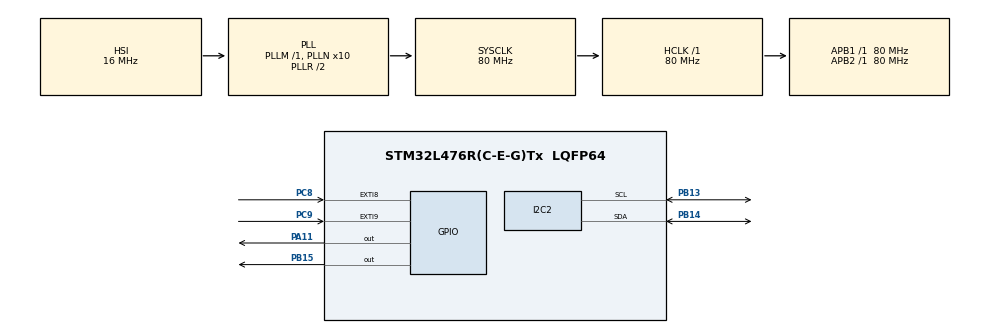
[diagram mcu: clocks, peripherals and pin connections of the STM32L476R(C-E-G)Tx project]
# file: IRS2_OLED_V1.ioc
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I2C2.CustomTiming=Disabled
I2C2.Timing=0x00303D5B
Mcu.Family=STM32L4
Mcu.Name=STM32L476R(C-E-G)Tx
Mcu.Package=LQFP64
NVIC.EXTI9_5_IRQn=true\:0\:0\:false\:false\:true\:true\:true\:true
NVIC.PriorityGroup=NVIC_PRIORITYGROUP_4
PA11.Signal=GPIO_Output
PB13.GPIO_Mode=GPIO_MODE_AF_OD
PB13.GPIO_Pu=GPIO_PULLUP
PB13.Mode=I2C
PB13.Signal=I2C2_SCL
PB14.GPIO_Mode=GPIO_MODE_AF_OD
PB14.GPIO_Pu=GPIO_PULLUP
PB14.Mode=I2C
PB14.Signal=I2C2_SDA
PB15.Signal=GPIO_Output
PC8.GPIO_ModeDefaultEXTI=GPIO_MODE_IT_FALLING
PC8.GPIO_PuPd=GPIO_PULLUP
PC8.Signal=GPXTI8
PC9.GPIO_ModeDefaultEXTI=GPIO_MODE_IT_FALLING
PC9.GPIO_PuPd=GPIO_PULLUP
PC9.Signal=GPXTI9
ProjectManager.HeapSize=0x200
ProjectManager.StackSize=0x400
ProjectManager.TargetToolchain=STM32CubeIDE
RCC.ADCFreq_Value=64000000
RCC.AHBFreq_Value=80000000
RCC.APB1Freq_Value=80000000
RCC.APB1TimFreq_Value=80000000
RCC.APB2Freq_Value=80000000
RCC.APB2TimFreq_Value=80000000
RCC.CortexFreq_Value=80000000
RCC.HCLKFreq_Value=80000000
RCC.HSE_VALUE=8000000
RCC.HSI_VALUE=16000000
RCC.I2C2CLockSelection=RCC_I2C2CLKSOURCE_HSI
RCC.LSE_VALUE=32768
RCC.MSI_VALUE=4000000
RCC.PLLN=10
RCC.PLLSourceVirtual=RCC_PLLSOURCE_HSI
RCC.PREFETCH_ENABLE=1
RCC.SYSCLKFreq_VALUE=80000000
RCC.SYSCLKSource=RCC_SYSCLKSOURCE_PLLCLK
RCC.USBFreq_Value=64000000
RCC.VCOOutputFreq_Value=160000000
board=NUCLEO-L476RG

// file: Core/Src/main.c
/* USER CODE BEGIN Header */
/**
  ******************************************************************************
  * @file           : main.c
  * @brief          : Main program body
  ******************************************************************************
  * @attention
  *
  * Copyright (c) 2022 STMicroelectronics.
  * All rights reserved.
  *
  * This software is licensed under terms that can be found in the LICENSE file
  * in the root directory of this software component.
  * If no LICENSE file comes with this software, it is provided AS-IS.
  *
  ******************************************************************************
  */
/* USER CODE END Header */
#include "main.h"
#include "i2c.h"
#include "gpio.h"

/* USER CODE BEGIN Includes */
#include "display.h"
/* USER CODE END Includes */

/* USER CODE BEGIN PV */
//button_state_t button1State = BUTTON_RELEASED;
//button_state_t button2State = BUTTON_RELEASED;
/* USER CODE END PV */

void SystemClock_Config(void);

int main(void)
{

  /* MCU Configuration--------------------------------------------------------*/

  /* Reset of all peripherals, Initializes the Flash interface and the Systick. */
  HAL_Init();

  /* Configure the system clock */
  SystemClock_Config();

  /* Initialize all configured peripherals */
  MX_GPIO_Init();
  MX_I2C2_Init();
  /* USER CODE BEGIN 2 */
  SSD1306_Find_Device_Address(&hi2c2);		// Finds SSD1306 OLED private address for I2C communication
  DISPLAY_Init(&hi2c2);							// Initializes SSD1306 display to be ready for showing content
  DISPLAY_Show_Test_Page(&hi2c2);					// Writing some example on SSD1306 display
  /* USER CODE END 2 */

  /* Infinite loop */
  while (1)
  {

    /* USER CODE BEGIN 3 */
	  if(button1State == BUTTON_PRESSED){
		  HAL_GPIO_WritePin(GPIOA, GPIO_PIN_11, GPIO_PIN_SET);
		  HAL_GPIO_WritePin(GPIOB, GPIO_PIN_15, GPIO_PIN_RESET);
	  }
	  else if(button2State == BUTTON_PRESSED){
		  HAL_GPIO_WritePin(GPIOA, GPIO_PIN_11, GPIO_PIN_RESET);
		  HAL_GPIO_WritePin(GPIOB, GPIO_PIN_15, GPIO_PIN_SET);
	  }
  }
  /* USER CODE END 3 */
}

void SystemClock_Config(void)
{
  RCC_OscInitTypeDef RCC_OscInitStruct = {0};
  RCC_ClkInitTypeDef RCC_ClkInitStruct = {0};

  /** Configure the main internal regulator output voltage
  */
  if (HAL_PWREx_ControlVoltageScaling(PWR_REGULATOR_VOLTAGE_SCALE1) != HAL_OK)
  {
    Error_Handler();
  }

  /** Initializes the RCC Oscillators according to the specified parameters
  * in the RCC_OscInitTypeDef structure.
  */
  RCC_OscInitStruct.OscillatorType = RCC_OSCILLATORTYPE_HSI;
  RCC_OscInitStruct.HSIState = RCC_HSI_ON;
  RCC_OscInitStruct.HSICalibrationValue = RCC_HSICALIBRATION_DEFAULT;
  RCC_OscInitStruct.PLL.PLLState = RCC_PLL_ON;
  RCC_OscInitStruct.PLL.PLLSource = RCC_PLLSOURCE_HSI;
  RCC_OscInitStruct.PLL.PLLM = 1;
  RCC_OscInitStruct.PLL.PLLN = 10;
  RCC_OscInitStruct.PLL.PLLP = RCC_PLLP_DIV7;
  RCC_OscInitStruct.PLL.PLLQ = RCC_PLLQ_DIV2;
  RCC_OscInitStruct.PLL.PLLR = RCC_PLLR_DIV2;
  if (HAL_RCC_OscConfig(&RCC_OscInitStruct) != HAL_OK)
  {
    Error_Handler();
  }

  /** Initializes the CPU, AHB and APB buses clocks
  */
  RCC_ClkInitStruct.ClockType = RCC_CLOCKTYPE_HCLK|RCC_CLOCKTYPE_SYSCLK
                              |RCC_CLOCKTYPE_PCLK1|RCC_CLOCKTYPE_PCLK2;
  RCC_ClkInitStruct.SYSCLKSource = RCC_SYSCLKSOURCE_PLLCLK;
  RCC_ClkInitStruct.AHBCLKDivider = RCC_SYSCLK_DIV1;
  RCC_ClkInitStruct.APB1CLKDivider = RCC_HCLK_DIV1;
  RCC_ClkInitStruct.APB2CLKDivider = RCC_HCLK_DIV1;

  if (HAL_RCC_ClockConfig(&RCC_ClkInitStruct, FLASH_LATENCY_4) != HAL_OK)
  {
    Error_Handler();
  }
}

/* USER CODE BEGIN 4 */

void DISPLAY_Show_Test_Page(I2C_HandleTypeDef* i2cHandler){
	page_container_t container;
	container.header = "Naslov";
	container.line_one = "Prvi red";
	container.line_two = "Drugi red";
	container.line_three = "Treci red";
	DISPLAY_Draw_Page(i2cHandler, &container);
}

/* USER CODE END 4 */

void Error_Handler(void)
{
  __disable_irq();
  while (1)
  {
  }
}
